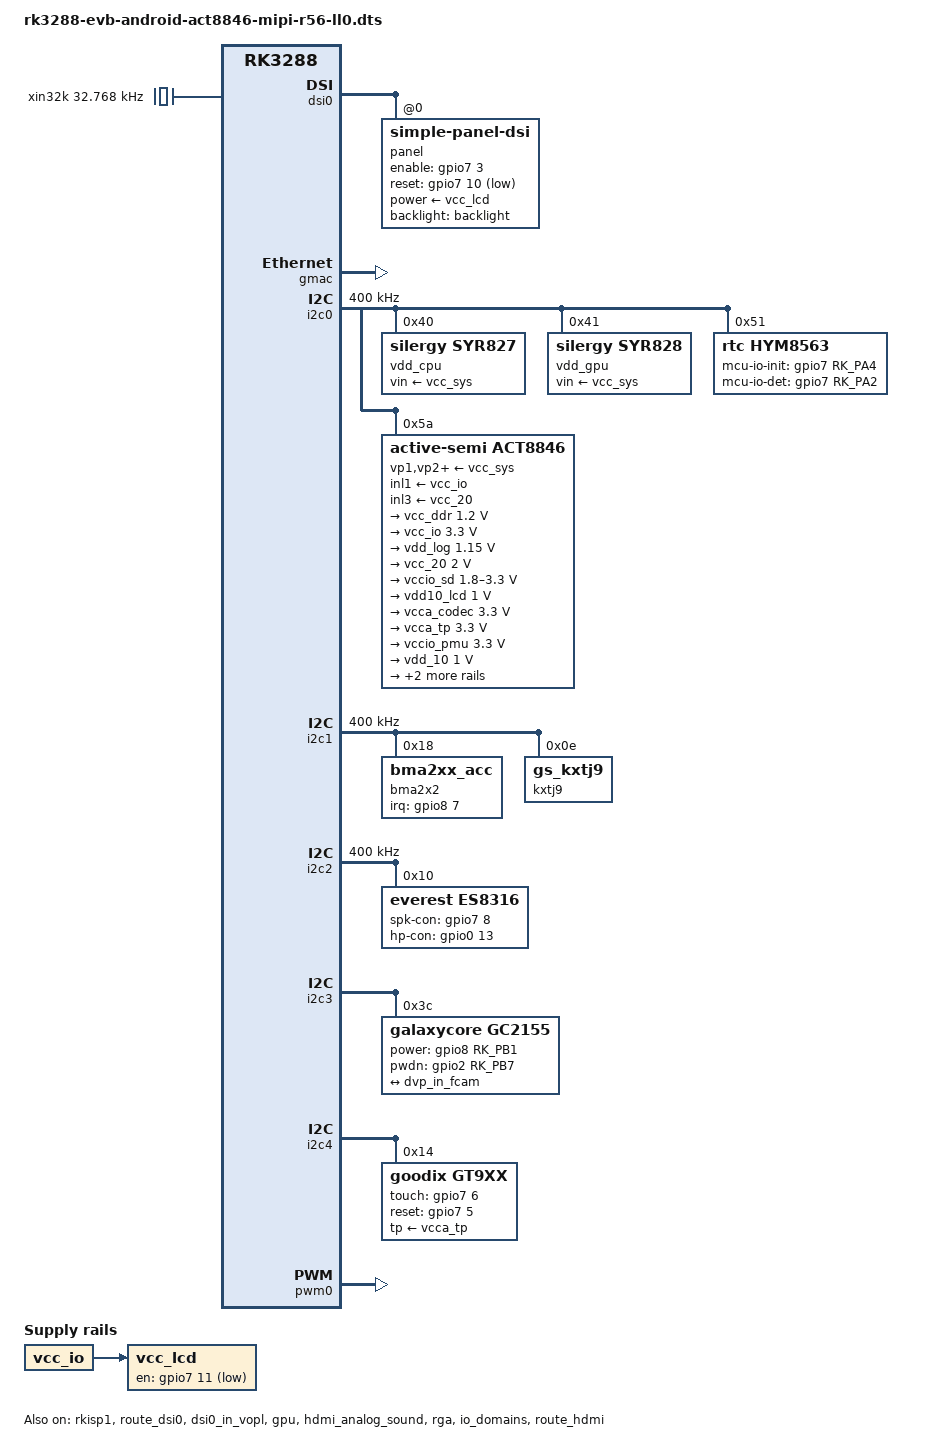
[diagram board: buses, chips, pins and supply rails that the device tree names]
/*
 * This file is dual-licensed: you can use it either under the terms
 * of the GPL or the X11 license, at your option. Note that this dual
 * licensing only applies to this file, and not this project as a
 * whole.
 *
 *  a) This file is free software; you can redistribute it and/or
 *     modify it under the terms of the GNU General Public License as
 *     published by the Free Software Foundation; either version 2 of the
 *     License, or (at your option) any later version.
 *
 *     This file is distributed in the hope that it will be useful,
 *     but WITHOUT ANY WARRANTY; without even the implied warranty of
 *     MERCHANTABILITY or FITNESS FOR A PARTICULAR PURPOSE.  See the
 *     GNU General Public License for more details.
 *
 * Or, alternatively,
 *
 *  b) Permission is hereby granted, free of charge, to any person
 *     obtaining a copy of this software and associated documentation
 *     files (the "Software"), to deal in the Software without
 *     restriction, including without limitation the rights to use,
 *     copy, modify, merge, publish, distribute, sublicense, and/or
 *     sell copies of the Software, and to permit persons to whom the
 *     Software is furnished to do so, subject to the following
 *     conditions:
 *
 *     The above copyright notice and this permission notice shall be
 *     included in all copies or substantial portions of the Software.
 *
 *     THE SOFTWARE IS PROVIDED "AS IS", WITHOUT WARRANTY OF ANY KIND,
 *     EXPRESS OR IMPLIED, INCLUDING BUT NOT LIMITED TO THE WARRANTIES
 *     OF MERCHANTABILITY, FITNESS FOR A PARTICULAR PURPOSE AND
 *     NONINFRINGEMENT. IN NO EVENT SHALL THE AUTHORS OR COPYRIGHT
 *     HOLDERS BE LIABLE FOR ANY CLAIM, DAMAGES OR OTHER LIABILITY,
 *     WHETHER IN AN ACTION OF CONTRACT, TORT OR OTHERWISE, ARISING
 *     FROM, OUT OF OR IN CONNECTION WITH THE SOFTWARE OR THE USE OR
 *     OTHER DEALINGS IN THE SOFTWARE.
 */

/dts-v1/;
#include "rk3288-evb-r56.dtsi"
#include "rk3288-android.dtsi"
#include <dt-bindings/sensor-dev.h>

/ {
	compatible = "rockchip,rk3288-evb-act8846", "rockchip,rk3288";

	vcc_lcd: vcc-lcd {
		compatible = "regulator-fixed";
		regulator-boot-on;		
		enable-active-low;
		regulator-always-on;
		gpio = <&gpio7 11 GPIO_ACTIVE_LOW>;
		pinctrl-names = "default";
		pinctrl-0 = <&lcd_en>;
		regulator-name = "vcc_lcd";
		vin-supply = <&vcc_io>;
	};

	xin32k: xin32k {
		compatible = "fixed-clock";
		clock-frequency = <32768>;
		clock-output-names = "xin32k";
		#clock-cells = <0>;
	};
};

&backlight {
	pwms = <&pwm0 0 500000 0>;
	enable-gpios = <&gpio7 9 GPIO_ACTIVE_HIGH>;
	resetusbhub-gpios = <&gpio8 3 GPIO_ACTIVE_HIGH>;
	post-pwm-on-delay-ms = <200>;
	pwm-off-delay-ms = <200>;
};

&cpu0 {
	cpu-supply = <&vdd_cpu>;
};

&rkisp1 {
	status = "okay";
	pinctrl-names = "default";
	pinctrl-0 = <&isp_mipi &isp_dvp_d2d9 &isp_dvp_d0d1>;

	port {
		#address-cells = <1>;
		#size-cells = <0>;
		//modify by pirlo for gc2155 front camera
		dvp_in_fcam: endpoint@0 {
			reg = <0>;
			remote-endpoint = <&gc2155_out>;
		};
	};
};

/*&dfi {
	status = "okay";
};

&dmc {
	center-supply = <&vdd_log>;
	status = "okay";
};*/

/*
***TV080WXT-LL0******
*/
&dsi0 {
	status = "okay";
	rockchip,lane-rate = <1152>; //1130

	panel@0 {
		compatible = "simple-panel-dsi";
		reg = <0>;
		backlight = <&backlight>;
		enable-gpios = <&gpio7 3 GPIO_ACTIVE_HIGH>;
		reset-gpios = <&gpio7 10 GPIO_ACTIVE_LOW>;
		power-supply = <&vcc_lcd>;
		dsi,flags =  <(MIPI_DSI_MODE_VIDEO | MIPI_DSI_MODE_VIDEO_BURST | MIPI_DSI_MODE_LPM | MIPI_DSI_MODE_EOT_PACKET)>;
		dsi,format = <MIPI_DSI_FMT_RGB888>;
		bus-format = <MEDIA_BUS_FMT_RBG888_1X24>;
		dsi,lanes = <4>;
		reset-delay-ms = <30>;
		init-delay-ms = <30>;
		enable-delay-ms = <30>;
		prepare-delay-ms = <20>;
		unprepare-delay-ms = <30>; 
		status = "okay";
		
/*
	panel-init-sequence = [
				05 96 01 11
				05 32 01 29 				
		    ];
	panel-exit-sequence=[
				05 16 01 28
				05 78 01 10
		];	
*/	
		disp_timings: display-timings {
		native-mode = <&timing0>;
		timing0: timing0 {			
				clock-frequency = <60000000>;
				hactive = <800>;
				vactive = <1280>;
				hback-porch = <12>;
				hfront-porch = <12>;
				vback-porch = <32>;
				vfront-porch = <155>;
				hsync-len = <8>;
				vsync-len = <8>;
				hsync-active = <0>;
				vsync-active = <0>;
				de-active = <0>;
				pixelclk-active = <0>;
			};
		};	    
	};
};

&route_dsi0 {
	status = "okay";
	connect = <&vopl_out_dsi0>;
};

&dsi0_in_vopl {
        status = "okay";
};

&dsi0_in_vopb {
        status = "disabled";
};

&gpu {
	status = "okay";
	mali-supply = <&vdd_gpu>;
};

&gmac {
	max-speed = <1000>;
	status = "okay";
};

&hdmi_analog_sound {
	status = "okay";
};

&sound {
	status = "okay";
};

&i2c0 {
	clock-frequency = <400000>;

	vdd_cpu: syr827@40 {
		compatible = "silergy,syr827";
		fcs,suspend-voltage-selector = <1>;
		reg = <0x40>;
		regulator-name = "vdd_cpu";
		regulator-min-microvolt = <850000>;
		regulator-max-microvolt = <1350000>;
		regulator-always-on;
		regulator-boot-on;
		regulator-enable-ramp-delay = <300>;
		regulator-ramp-delay = <8000>;
		vin-supply = <&vcc_sys>;
		regulator-state-mem {
			regulator-off-in-suspend;
		};
	};

	vdd_gpu: syr828@41 {
		compatible = "silergy,syr828";
		fcs,suspend-voltage-selector = <1>;
		reg = <0x41>;
		regulator-name = "vdd_gpu";
		regulator-min-microvolt = <850000>;
		regulator-max-microvolt = <1350000>;
		regulator-always-on;
		regulator-ramp-delay = <6000>;
		vin-supply = <&vcc_sys>;
		regulator-state-mem {
			regulator-off-in-suspend;
		};
	};

	hym8563: hym8563@51 {
		compatible = "rtc,hym8563";
		reg = <0x51>;		
		mcu-io-init = <&gpio7 RK_PA4 GPIO_ACTIVE_HIGH>;	
		mcu-io-det = <&gpio7 RK_PA2 GPIO_ACTIVE_HIGH>;	
		status = "okay";		
	};

	act8846: act8846@5a {
		compatible = "active-semi,act8846";
		reg = <0x5a>;
		status = "okay";

		vp1-supply = <&vcc_sys>;
		vp2-supply = <&vcc_sys>;
		vp3-supply = <&vcc_sys>;
		vp4-supply = <&vcc_sys>;
		inl1-supply = <&vcc_io>;
		inl2-supply = <&vcc_sys>;
		inl3-supply = <&vcc_20>;

		regulators {
			vcc_ddr: REG1 {
				regulator-name = "VCC_DDR";
				regulator-min-microvolt = <1200000>;
				regulator-max-microvolt = <1200000>;
				regulator-always-on;
			};

			vcc_io: REG2 {
				regulator-name = "VCC_IO";
				regulator-min-microvolt = <3300000>;
				regulator-max-microvolt = <3300000>;
				regulator-always-on;
			};

			vdd_log: REG3 {
				regulator-name = "VDD_LOG";
				regulator-min-microvolt = <1150000>;
				regulator-max-microvolt = <1150000>;
				regulator-always-on;
			};

			vcc_20: REG4 {
				regulator-name = "VCC_20";
				regulator-min-microvolt = <2000000>;
				regulator-max-microvolt = <2000000>;
				regulator-always-on;
			};

			vccio_sd: REG5 {
				regulator-name = "VCCIO_SD";
				regulator-min-microvolt = <1800000>;
				regulator-max-microvolt = <3300000>;
				regulator-always-on;
			};

			vdd10_lcd: REG6 {
				regulator-name = "VDD10_LCD";
				regulator-min-microvolt = <1000000>;
				regulator-max-microvolt = <1000000>;
				regulator-always-on;
			};

			vcca_codec: REG7 {
				regulator-name = "VCCA_CODEC";
				regulator-min-microvolt = <3300000>;
				regulator-max-microvolt = <3300000>;
				regulator-always-on;
			};

			vcca_tp: REG8 {
				regulator-name = "VCCA_TP";
				regulator-min-microvolt = <3300000>;
				regulator-max-microvolt = <3300000>;
				regulator-always-on;
			};

			vccio_pmu: REG9 {
				regulator-name = "VCCIO_PMU";
				regulator-min-microvolt = <3300000>;
				regulator-max-microvolt = <3300000>;
				regulator-always-on;
			};

			vdd_10: REG10 {
				regulator-name = "VDD_10";
				regulator-min-microvolt = <1000000>;
				regulator-max-microvolt = <1000000>;
				regulator-always-on;
			};

			vcc_18: REG11 {
				regulator-name = "VCC_18";
				regulator-min-microvolt = <1800000>;
				regulator-max-microvolt = <1800000>;
				regulator-always-on;
			};

			vcc18_lcd: REG12 {
				regulator-name = "VCC18_LCD";
				regulator-min-microvolt = <1800000>;
				regulator-max-microvolt = <1800000>;
				regulator-always-on;
			};
		};
	};
};

&i2c1 {
	status = "okay";
	clock-frequency = <400000>;

	bma2x2: bma250@18 {
		status = "okay";
		compatible = "bma2xx_acc";
		reg = <0x18>;
		type = <SENSOR_TYPE_ACCEL>;
		irq-gpio = <&gpio8 7 IRQ_TYPE_LEVEL_LOW>;              /* GSENSOR_INT = GPIO8_A7 */
		irq_enable = <0>;
		poll_delay_ms = <30>;
		layout = <5>;  
    };
	
	kxtj9@0e {
		status = "okay";
		compatible = "gs_kxtj9";
		reg = <0x0e>;
		type = <SENSOR_TYPE_ACCEL>;
		irq_enable = <0>;
		poll_delay_ms = <20>;
		layout = <5>;
    };
};

&i2c2 {
	status = "okay";
	clock-frequency = <400000>;

	es8316: es8316@10 {
		status = "okay";
		compatible = "everest,es8316";
		reg = <0x10>;
		spk-con-gpio = <&gpio7 8 GPIO_ACTIVE_HIGH>;
		//hp-det-gpio = <&gpio7 7 GPIO_ACTIVE_HIGH>;
		hp-con-gpio = <&gpio0 13 GPIO_ACTIVE_HIGH>;		
		spk_volume = <0x99>;   //0x88 1.12w	0x99 1.5w

		clock-names = "mclk";
		clocks = <&cru SCLK_I2S0_OUT>;
		pinctrl-names = "default";
		pinctrl-0 = <&i2s0_mclk>;
		#sound-dai-cells = <0>;
		extcon = <&rk_headset>;
	};
/*
	nfc-bcm2079x@76 {
                compatible = "nfc-bcm2079x.ap6441";
                reg = <0x76>;
				en_gpio = <&gpio7 14 GPIO_ACTIVE_HIGH>;
				wake_gpio = <&gpio7 15 GPIO_ACTIVE_HIGH>;
				irq_gpio = <&gpio0 1 IRQ_TYPE_EDGE_RISING>;
                status = "okay";
    };
*/
};

&i2c3 {
	status = "okay";

	gc2155@3c {
		status = "okay";
		compatible = "galaxycore,gc2155";
		reg = <0x3c>;
		//device_type = "v4l2-i2c-subdev";
		//pinctrl-names = "default";
		//pinctrl-0 = <&fcam_pd>;

		clocks = <&cru SCLK_VIP_OUT>;
		clock-names = "xvclk";

		power-gpio = <&gpio8 RK_PB1 GPIO_ACTIVE_HIGH>;
                pwdn-gpios = <&gpio2 RK_PB7 GPIO_ACTIVE_HIGH>;
		//pwdn-gpios = <&gpio2 RK_PB6 GPIO_ACTIVE_HIGH>;
		rockchip,camera-module-index = <1>;
		rockchip,camera-module-facing = "front";
		//rockchip,camera-module-name = "default";
		//rockchip,camera-module-lens-name = "default";
		rockchip,camera-module-name = "CameraKing";
		rockchip,camera-module-lens-name = "Largan";
		port {
			gc2155_out: endpoint {
				remote-endpoint = <&dvp_in_fcam>;
			};
		};
	};
};

&i2c4 {
	status = "okay";


	gt9xx: gt9xx@14 {
		compatible = "goodix,gt9xx";
		reg = <0x14>;
		touch-gpio = <&gpio7 6 IRQ_TYPE_LEVEL_LOW>;
		reset-gpio =<&gpio7 5 GPIO_ACTIVE_HIGH>;
		max-x = <1280>;
		max-y = <800>;
		tp-size = <89>;
		tp-supply = <&vcca_tp>;
		status = "okay";
	};
	
/*    ilitek@41 {
		status = "okay";
		compatible = "tchip,ilitek";
		reg = <0x41>;
		ilitek,irq-gpio = <&gpio7 6 IRQ_TYPE_LEVEL_LOW>;
		ilitek,reset-gpio = <&gpio7 5 GPIO_ACTIVE_HIGH>;
    };*/
#if 0	
	focaltech@38{ 
		status = "okay";
		compatible = "focaltech,fts"; /* do not modify */
		reg = <0x38>; /* do not modify */
		interrupt-parent = <&gpio7>;				
	    interrupts = <6 IRQ_TYPE_EDGE_FALLING>;	
		focaltech,reset-gpio = <&gpio7 5 GPIO_ACTIVE_LOW>; 				
		focaltech,irq-gpio = <&gpio7 6 IRQ_TYPE_EDGE_FALLING>; 		//IRQ_TYPE_EDGE_FALLING
		focaltech,max-touch-number = <10>; 
		focaltech,display-coords = <0 0 1280 800>; 
		/*focaltech,have-key;*/ 
	//	focaltech,have-key;
	//	focaltech,key-number = <3>; 
	//	focaltech,keys = <139 172 158>; 
	//	focaltech,key-y-coord = <2000>; 
	//	focaltech,key-x-coords = <200 600 800>; 
	};
#endif	
};

&rga {
	status = "okay";
};

&io_domains {
	status = "okay";

	sdcard-supply = <&vccio_sd>;
	wifi-supply = <&vcc_18>;
};

&rockchip_suspend {
	status = "okay";
	rockchip,pwm-regulator-config = <
	(0
	| PWM1_REGULATOR_EN
	)
	>;
};

&pwm0 {
	status = "okay";
};

&pwm1 {
	status = "disabled";
	pinctrl-names = "active";
	pinctrl-0 = <&pwm1_pin_pull_down>;
};

&pinctrl {
    camera {
		fcam_pd: fcam-pd {
			rockchip,pins = <2 RK_PB6 RK_FUNC_GPIO &pcfg_pull_none>;
		};
	};

	lcd {
		lcd_en: lcd-en  {
			rockchip,pins = <7 RK_PB3 RK_FUNC_GPIO &pcfg_pull_none>;
		};
	};
};

&route_hdmi {
	status = "okay";
};

&vopb {
	assigned-clocks = <&cru DCLK_VOP0>;
	assigned-clock-parents = <&cru PLL_GPLL>;
};

&vopl {
	assigned-clocks = <&cru DCLK_VOP1>;
	assigned-clock-parents = <&cru PLL_CPLL>;
};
